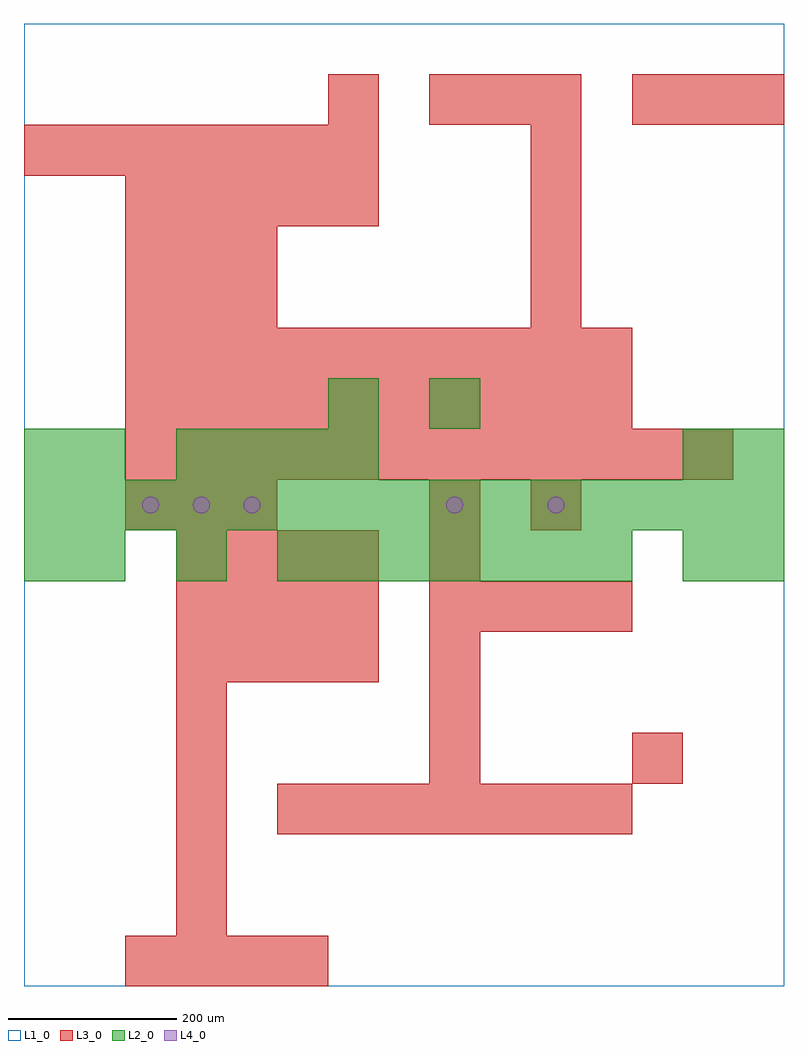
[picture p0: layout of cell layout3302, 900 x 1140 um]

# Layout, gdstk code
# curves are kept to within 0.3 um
import gdstk
lib = gdstk.Library(unit=1e-6, precision=1e-09)
def R(c, l, rs):  # rectangles x0, y0, x1, y1
    for r in rs: c.add(gdstk.rectangle(r[:2], r[2:], *l))
def A(c, l, x, y, w, h, nx, ny, dx, dy):  # array of equal rectangles
    R(c, l, [(x+i*dx, y+j*dy, x+i*dx+w, y+j*dy+h) for i in range(nx) for j in range(ny)])
def P(c, l, *ps):  # polygons
    for p in ps: c.add(gdstk.Polygon(p, *l))
L1_0 = (1, 0)
L2_0 = (2, 0)
L3_0 = (3, 0)
L4_0 = (4, 0)

layout3302 = lib.new_cell('layout3302')
R(layout3302, L1_0, [(0,0,900,1140)])
A(layout3302, L2_0, 60, 480, 60, 60, 3, 1, 120, 0)
A(layout3302, L2_0, 360, 480, 60, 60, 6, 1, 60, 0)
A(layout3302, L2_0, 0, 540, 60, 60, 15, 1, 60, 0)
A(layout3302, L2_0, 180, 600, 60, 60, 4, 1, 60, 0)
R(layout3302, L2_0, [(0,480,60,540), (780,480,840,540), (840,480,900,540), (0,600,60,660), (60,600,120,660), (780,600,840,660), (840,600,900,660), (360,660,420,720), (480,660,540,720)])
A(layout3302, L3_0, 120, 0, 60, 60, 4, 1, 60, 0)
A(layout3302, L3_0, 180, 60, 60, 60, 1, 5, 0, 60)
A(layout3302, L3_0, 300, 180, 60, 60, 7, 1, 60, 0)
A(layout3302, L3_0, 480, 240, 60, 60, 1, 3, 0, 60)
A(layout3302, L3_0, 180, 360, 60, 60, 4, 3, 60, 60)
A(layout3302, L3_0, 480, 420, 60, 60, 4, 1, 60, 0)
A(layout3302, L3_0, 120, 540, 60, 60, 3, 2, 60, 240)
A(layout3302, L3_0, 120, 600, 60, 60, 12, 1, 60, 0)
A(layout3302, L3_0, 120, 660, 60, 60, 10, 2, 60, 60)
A(layout3302, L3_0, 600, 780, 60, 60, 1, 4, 0, 60)
A(layout3302, L3_0, 120, 840, 60, 60, 3, 1, 60, 0)
A(layout3302, L3_0, 120, 900, 60, 60, 5, 1, 60, 0)
A(layout3302, L3_0, 0, 960, 60, 60, 7, 1, 60, 0)
A(layout3302, L3_0, 480, 1020, 60, 60, 3, 1, 60, 0)
A(layout3302, L3_0, 720, 1020, 60, 60, 3, 1, 60, 0)
R(layout3302, L3_0, [(720,240,780,300), (480,480,540,540), (480,540,540,600), (600,540,660,600), (360,1020,420,1080)])
P(layout3302, L4_0, [(160,570),(159.239,573.827),(157.071,577.071),(153.827,579.239),(150,580),(146.173,579.239),(142.929,577.071),(140.761,573.827),(140,570),(140.761,566.173),(142.929,562.929),(146.173,560.761),(150,560),(153.827,560.761),(157.071,562.929),(159.239,566.173)],
  [(220,570),(219.239,573.827),(217.071,577.071),(213.827,579.239),(210,580),(206.173,579.239),(202.929,577.071),(200.761,573.827),(200,570),(200.761,566.173),(202.929,562.929),(206.173,560.761),(210,560),(213.827,560.761),(217.071,562.929),(219.239,566.173)],
  [(280,570),(279.239,573.827),(277.071,577.071),(273.827,579.239),(270,580),(266.173,579.239),(262.929,577.071),(260.761,573.827),(260,570),(260.761,566.173),(262.929,562.929),(266.173,560.761),(270,560),(273.827,560.761),(277.071,562.929),(279.239,566.173)],
  [(520,570),(519.239,573.827),(517.071,577.071),(513.827,579.239),(510,580),(506.173,579.239),(502.929,577.071),(500.761,573.827),(500,570),(500.761,566.173),(502.929,562.929),(506.173,560.761),(510,560),(513.827,560.761),(517.071,562.929),(519.239,566.173)],
  [(640,570),(639.239,573.827),(637.071,577.071),(633.827,579.239),(630,580),(626.173,579.239),(622.929,577.071),(620.761,573.827),(620,570),(620.761,566.173),(622.929,562.929),(626.173,560.761),(630,560),(633.827,560.761),(637.071,562.929),(639.239,566.173)])

lib.write_gds('layout3302.gds')
